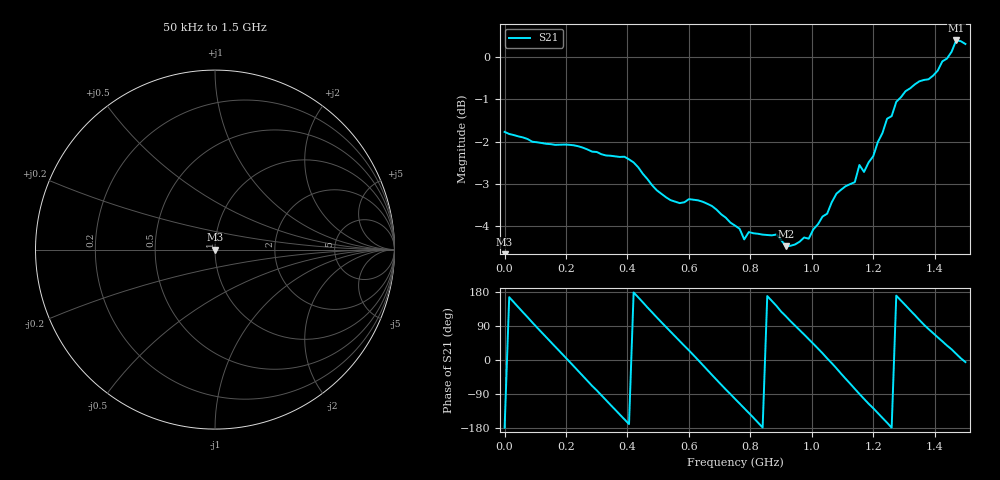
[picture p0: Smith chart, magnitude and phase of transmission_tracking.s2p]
! Created with skrf 1.8.0 (http://scikit-rf.org).
# Hz S RI R 50.0
!freq ReS11 ImS11 ReS21 ImS21 ReS12 ImS12 ReS22 ImS22
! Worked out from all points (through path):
!   101 points, 50 kHz to 1.5 GHz, reference 50 ohm
!   highest |S21| = 0.40 dB at 1.47 GHz (marker M1); lowest = -4.5 dB at 915 MHz (marker M2)
!   lowest |S11| = - dB at 50 kHz (marker M3), VSWR 1.00, Z = 50 + j0 ohm
!   |S11| at or under -10 dB: start of sweep to end of sweep
!   S12 and S22 are empty: the file has one direction only
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50000  0 0  -0.8154 -0.015  0 0  0 0
6.0048e7  0 0  -0.4695 0.6518  0 0  0 0
1.050465e8  0 0  0.053 0.791  0 0  0 0
1.80044e8  0 0  0.7291 0.2976  0 0  0 0
2.550415e8  0 0  0.5778 -0.5256  0 0  0 0
3.30039e8  0 0  -0.2078 -0.7359  0 0  0 0
4.050365e8  0 0  -0.743 -0.1426  0 0  0 0
5.10033e8  0 0  -0.1198 0.6784  0 0  0 0
6.30029e8  0 0  0.6765 -0.0018  0 0  0 0
6.90027e8  0 0  0.4038 -0.5215  0 0  0 0
7.50025e8  0 0  -0.1368 -0.6164  0 0  0 0
8.40022e8  0 0  -0.6158 -0.0196  0 0  0 0
9.150195e8  0 0  -0.2612 0.5368  0 0  0 0
1.005016e9  0 0  0.4585 0.4248  0 0  0 0
1.080014e9  0 0  0.6398 -0.2551  0 0  0 0
1.155012e9  0 0  0.00626 -0.745  0 0  0 0
1.21501e9  0 0  -0.6075 -0.51  0 0  0 0
1.260008e9  0 0  -0.8512 -0.0201  0 0  0 0
1.305006e9  0 0  -0.7417 0.5294  0 0  0 0
1.365004e9  0 0  -0.0519 0.9383  0 0  0 0
1.470001e9  0 0  1.005 0.2934  0 0  0 0
1.5e9  0 0  1.032 -0.0994  0 0  0 0
